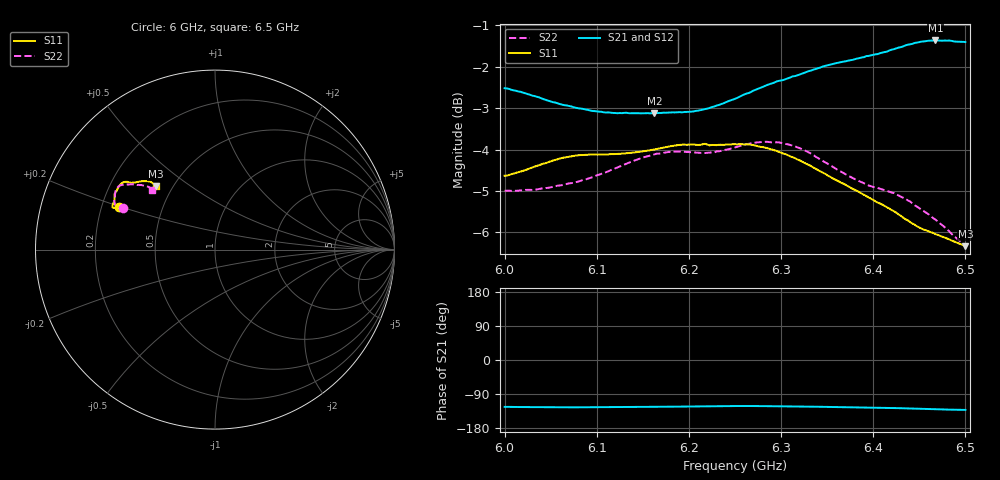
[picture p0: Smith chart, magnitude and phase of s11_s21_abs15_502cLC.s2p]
! MS46122B
! 1919307/90821646
! 7/29/2022 1:47:20 PM
! C:\USERS\PC_\DESKTOP\MEDICIONES\BANCHA ESTRECHA\6_65_GHZ\S11_S21_ABS15_502CL.S2P
! CHANNEL.1
! TR.MEASUREMENT
! CORRECTED.DATA
# GHZ S RI R 50.0
! FREQ.GHZ  S11RE  S11IM  S21RE  S21IM  S12RE  S12IM  S22RE  S22IM
!; PortSelection: Port_12
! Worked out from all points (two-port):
!   201 points, 6 GHz to 6.5 GHz, reference 50 ohm
!   highest |S21| = -1.37 dB at 6.468 GHz (marker M1); lowest = -3.1 dB at 6.162 GHz (marker M2)
!   |S21| within 3 dB of the highest: start of sweep to end of sweep
!   lowest |S11| = -6.3 dB at 6.5 GHz (marker M3), VSWR 2.86, Z = 20.3 + j18.6 ohm
!   |S11| at or under -10 dB: nowhere
!   |S22| runs from -6.3 to -3.8 dB; largest |S21 - S12| = 0.018
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6  -0.5368 0.2369  -0.415 -0.6226  -0.405 -0.6211  -0.5116 0.2342
6.035  -0.5564 0.2323  -0.4147 -0.6016  -0.4082 -0.5972  -0.5147 0.2326
6.0625  -0.5701 0.2345  -0.4094 -0.5859  -0.3998 -0.5805  -0.5262 0.2236
6.085  -0.5719 0.2431  -0.4029 -0.5803  -0.3906 -0.576  -0.5366 0.2201
6.1075  -0.5662 0.2587  -0.3954 -0.5774  -0.382 -0.5745  -0.5459 0.2263
6.13  -0.5601 0.2752  -0.3911 -0.579  -0.3767 -0.5773  -0.5538 0.2442
6.1625  -0.5591 0.2926  -0.3847 -0.5821  -0.3701 -0.5821  -0.5613 0.2692
6.1675  -0.5598 0.2948  -0.3851 -0.5825  -0.3693 -0.5829  -0.5619 0.2714
6.195  -0.5598 0.3095  -0.3811 -0.5877  -0.365 -0.5913  -0.561 0.2804
6.2275  -0.5474 0.3298  -0.3754 -0.604  -0.3611 -0.6093  -0.5567 0.286
6.25  -0.5354 0.3513  -0.3781 -0.6203  -0.3663 -0.6279  -0.5569 0.3048
6.2675  -0.5238 0.3667  -0.3867 -0.6316  -0.3751 -0.64  -0.5542 0.324
6.285  -0.51 0.3757  -0.3982 -0.6415  -0.3871 -0.648  -0.5472 0.3408
6.3075  -0.4928 0.3781  -0.412 -0.6496  -0.4013 -0.6582  -0.532 0.3561
6.335  -0.4703 0.3731  -0.4317 -0.659  -0.4213 -0.6691  -0.5051 0.3621
6.3775  -0.4198 0.3792  -0.4631 -0.6639  -0.4584 -0.6744  -0.4556 0.3638
6.4175  -0.3759 0.3815  -0.4957 -0.6669  -0.4906 -0.6761  -0.4303 0.3604
6.44  -0.3542 0.3751  -0.5194 -0.6669  -0.519 -0.6748  -0.4109 0.3599
6.465  -0.3423 0.3652  -0.5479 -0.6555  -0.545 -0.6613  -0.3838 0.3532
6.4675  -0.3412 0.3638  -0.5478 -0.6557  -0.5497 -0.6566  -0.3811 0.3528
6.4825  -0.3355 0.3593  -0.5599 -0.6451  -0.5568 -0.6454  -0.3639 0.3467
6.5  -0.3297 0.3522  -0.5662 -0.6349  -0.5614 -0.6345  -0.3491 0.3345
